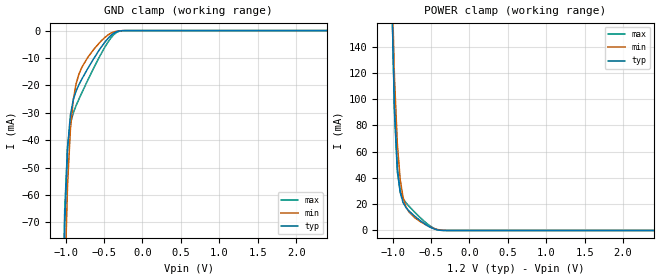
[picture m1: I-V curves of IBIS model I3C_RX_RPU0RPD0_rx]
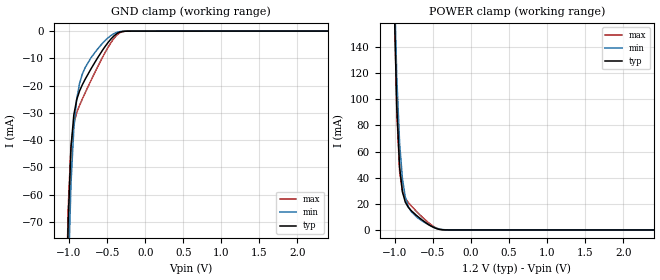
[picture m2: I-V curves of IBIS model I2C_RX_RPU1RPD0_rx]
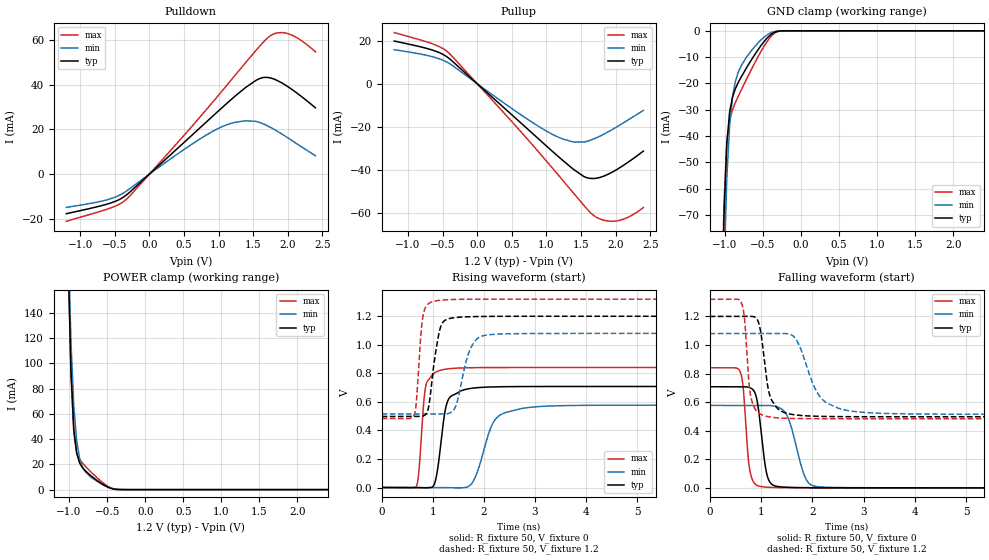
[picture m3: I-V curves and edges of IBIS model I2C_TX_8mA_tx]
[IBIS Ver]   4.2
[File name]   a11486_ibis-00001760_20260211_1855.ibs
[File rev]   1.0
[Date]   Tue Feb 26 19:11:02 2026
[Source]   From post silicon level SPICE at MediaTek Inc.
[Notes]   Engineering
[Disclaimer] This software contains information confidential and proprietary
                to MediaTek.  It shall not be reproduced in whole or in part, or
                transferred to other documents, or disclosed to third parties,
                or used for any purpose other than that for which it was obtained,
                without the prior license permission of MediaTek. The entire notice
                above must be reproduced on all authorized copies.
[Copyright]   Copyright (C) 2026 MediaTek Incorportion. All right reserved.
[Component]   A11486_IBIS-00001760
[Manufacturer]  Media Tek Inc.
[Package]
| variable   typ   min   max
R_pkg   0   0   0
L_pkg   0   0   0
C_pkg   0   0   0
[Pin]   signal_name   model_name   R_pin   L_pin   C_pin
IO   IO   A11486_IBIS-00001760
IO2   IO2   A11486_IBIS-00001760
[Model Selector]   A11486_IBIS-00001760
I3C_RX_RPU0RPD0_rx   I3C_RX_RPU0RPD0_rx
I2C_RX_RPU1RPD0_rx   I2C_RX_RPU1RPD0_rx
I2C_TX_8mA_tx   I2C_TX_8mA_tx
I3C_TX_0p125mA_tx   I3C_TX_0p125mA_tx
| Models and submodels in the file (4): I3C_RX_RPU0RPD0_rx (Input), I2C_RX_RPU1RPD0_rx (Input), I2C_TX_8mA_tx (I/O), I3C_TX_0p125mA_tx (I/O)
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[Model]   I3C_RX_RPU0RPD0_rx
Model_type Input
Enable   Active-High
Vinl  =  0.15
Vinh  =  0.6
| Capacitance   typ   min   max
C_comp   2.38054388888889e-12   2.297637654320988e-12   2.448353535353536e-12
| Variables   typ   min   max
[GND Clamp Reference]   0   0   0
[POWER Clamp Reference]   1.2   1.08   1.32
[Pulldown Reference]   0   0   0
[Pullup Reference]   1.2   1.08   1.32
[Temperature Range]   25   125   -40
[Voltage Range]   1.2   1.08   1.32
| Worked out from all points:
|   GND clamp passes 1 mA (typ) near -0.38 V on its own axis
|   POWER clamp passes 1 mA (typ) near -0.45 V on its own axis
[GND Clamp]
| Voltage   I(typ)   I(min)   I(max)
-1.2V     -742.2mA   -525.9mA   -647.8mA
-1.05V    -131.2mA   -159.5mA   -123.1mA
-1.012V   -71.24mA   -93.57mA   -65.79mA
-975mV    -42.9mA    -56.15mA   -42.35mA
-937.5mV  -30.79mA   -35.83mA   -33.91mA
-900mV    -25.2mA    -25.12mA   -30mA
-862.5mV  -22mA      -19.26mA   -27.29mA
-787.5mV  -17.62mA   -13.33mA   -22.61mA
-712.5mV  -13.88mA   -9.827mA   -18.14mA
-450mV    -2.896mA   -1.626mA   -4.255mA
-262.5mV  -36.84uA   -32.89uA   -53.29uA
2.4V      0A         0A         0A
[POWER Clamp]
| Voltage   I(typ)   I(min)   I(max)
-1.2V     1.134A     914.5mA    1.147A
-1.012V   184.7mA    200.6mA    187.8mA
-975mV    94.28mA    117.1mA    90.89mA
-937.5mV  47.98mA    66.09mA    44.9mA
-900mV    28.94mA    38.72mA    29.55mA
-862.5mV  21.24mA    25.05mA    24.12mA
-825mV    17.44mA    18.13mA    21.07mA
-787.5mV  14.92mA    14.25mA    18.58mA
-712.5mV  10.93mA    9.809mA    13.96mA
-525mV    2.977mA    3.033mA    4.016mA
-375mV    136.8uA    333.6uA    154.3uA
2.4V      0A         0A         0A
[Model]   I2C_RX_RPU1RPD0_rx
Model_type Input
Enable   Active-High
Vinl  =  0.15
Vinh  =  0.6
| Capacitance   typ   min   max
C_comp   2.38054388888889e-12   2.297637654320988e-12   2.448353535353536e-12
| Variables   typ   min   max
[GND Clamp Reference]   0   0   0
[POWER Clamp Reference]   1.2   1.08   1.32
[Pulldown Reference]   0   0   0
[Pullup Reference]   1.2   1.08   1.32
[Temperature Range]   25   125   -40
[Voltage Range]   1.2   1.08   1.32
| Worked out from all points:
|   GND clamp passes 1 mA (typ) near -0.38 V on its own axis
|   POWER clamp passes 1 mA (typ) near -0.45 V on its own axis
[GND Clamp]
| Voltage   I(typ)   I(min)   I(max)
-1.2V     -742.2mA   -525.9mA   -647.8mA
-1.05V    -131.2mA   -159.5mA   -123.1mA
-1.012V   -71.26mA   -93.57mA   -65.79mA
-975mV    -42.91mA   -56.15mA   -42.35mA
-937.5mV  -30.81mA   -35.83mA   -33.91mA
-900mV    -25.22mA   -25.12mA   -30mA
-862.5mV  -22.01mA   -19.26mA   -27.29mA
-787.5mV  -17.64mA   -13.33mA   -22.61mA
-712.5mV  -13.9mA    -9.827mA   -18.14mA
-450mV    -2.915mA   -1.626mA   -4.255mA
-262.5mV  -55.97uA   -32.89uA   -53.29uA
2.4V      0A         0A         0A
[POWER Clamp]
| Voltage   I(typ)   I(min)   I(max)
-1.2V     1.134A     914.5mA    1.147A
-1.012V   184.7mA    200.6mA    187.8mA
-975mV    94.3mA     117.1mA    90.89mA
-937.5mV  47.99mA    66.09mA    44.9mA
-900mV    28.95mA    38.72mA    29.55mA
-862.5mV  21.25mA    25.05mA    24.12mA
-825mV    17.45mA    18.13mA    21.07mA
-787.5mV  14.93mA    14.25mA    18.58mA
-712.5mV  10.95mA    9.809mA    13.96mA
-525mV    2.986mA    3.033mA    4.016mA
-375mV    143.5uA    333.6uA    154.3uA
2.4V      0A         0A         0A
[Model]   I2C_TX_8mA_tx
Model_type I/O
Enable   Active-High
Vinl  =  0.15
Vinh  =  0.6
| Capacitance   typ   min   max
C_comp   2.38054388888889e-12   2.297637654320988e-12   2.448353535353536e-12
[Model Spec]
| Subparameter   typ   min   max
Vinl   0   0   0
Vinh   0   0   0
Vmeas   0.6   0.54   0.66
| Variables   typ   min   max
[GND Clamp Reference]   0   0   0
[POWER Clamp Reference]   1.2   1.08   1.32
[Pulldown Reference]   0   0   0
[Pullup Reference]   1.2   1.08   1.32
[Temperature Range]   25   125   -40
[Voltage Range]   1.2   1.08   1.32
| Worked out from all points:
|   slope of the pulldown table from 0 to 0.18 V, typ, clamps not added: 35.4 ohm
|   slope of the pullup table from 0 to 0.18 V, typ, clamps not added: 34.7 ohm
|   GND clamp passes 1 mA (typ) near -0.38 V on its own axis
|   POWER clamp passes 1 mA (typ) near -0.45 V on its own axis
|   rising waveform, R_fixture 50, V_fixture 0: 20-80 % time 158ps typ, 316ps min, 104ps max; typ from 0 V to 0.708 V
|   rising waveform, R_fixture 50, V_fixture 1.2: 20-80 % time 160ps typ, 232ps min, 99.3ps max; typ from 0.498 V to 1.2 V
|   falling waveform, R_fixture 50, V_fixture 0: 20-80 % time 144ps typ, 259ps min, 103ps max; typ from 0.708 V to 0 V
|   falling waveform, R_fixture 50, V_fixture 1.2: 20-80 % time 171ps typ, 392ps min, 108ps max; typ from 1.2 V to 0.498 V
[GND Clamp]
| Voltage   I(typ)   I(min)   I(max)
-1.2V     -742.2mA   -525.9mA   -647.8mA
-1.05V    -131.2mA   -159.5mA   -123.1mA
-1.012V   -71.24mA   -93.57mA   -65.79mA
-975mV    -42.9mA    -56.15mA   -42.35mA
-937.5mV  -30.79mA   -35.83mA   -33.91mA
-900mV    -25.2mA    -25.12mA   -30mA
-862.5mV  -22mA      -19.26mA   -27.29mA
-787.5mV  -17.62mA   -13.33mA   -22.61mA
-712.5mV  -13.88mA   -9.827mA   -18.14mA
-450mV    -2.896mA   -1.626mA   -4.255mA
-262.5mV  -36.84uA   -32.89uA   -53.29uA
2.4V      0A         0A         0A
[POWER Clamp]
| Voltage   I(typ)   I(min)   I(max)
-1.2V     1.134A     914.5mA    1.147A
-1.012V   184.7mA    200.6mA    187.8mA
-975mV    94.28mA    117.1mA    90.89mA
-937.5mV  47.98mA    66.09mA    44.9mA
-900mV    28.94mA    38.72mA    29.55mA
-862.5mV  21.24mA    25.05mA    24.12mA
-825mV    17.44mA    18.13mA    21.07mA
-787.5mV  14.92mA    14.25mA    18.58mA
-712.5mV  10.93mA    9.809mA    13.96mA
-525mV    2.977mA    3.033mA    4.016mA
-375mV    136.8uA    333.6uA    154.3uA
2.4V      0A         0A         0A
[Pullup]
| Voltage   I(typ)   I(min)   I(max)
-1.2V     19.84mA    15.81mA    23.75mA
-637.5mV  15.53mA    12.48mA    18.43mA
-412.5mV  11.9mA     9.585mA    14.36mA
487.5mV   -14.03mA   -11.2mA    -17.11mA
975mV     -28.13mA   -21.45mA   -34.9mA
1.238V    -35.58mA   -25.61mA   -44.83mA
1.387V    -39.58mA   -27mA      -50.57mA
1.538V    -42.94mA   -27.02mA   -56.26mA
1.725V    -43.75mA   -24.98mA   -61.93mA
1.913V    -41.6mA    -21.89mA   -63.71mA
2.138V    -37.26mA   -17.59mA   -62.46mA
2.4V      -31.19mA   -12.35mA   -57.38mA
[Pulldown]
| Voltage   I(typ)   I(min)   I(max)
-1.2V     -17.66mA   -14.83mA   -21.05mA
-637.5mV  -13.62mA   -11.66mA   -15.92mA
-337.5mV  -9.459mA   -7.673mA   -11.39mA
487.5mV   13.76mA    10.72mA    16.85mA
975mV     27.56mA    20.08mA    34.34mA
1.238V    34.8mA     23.12mA    44.07mA
1.387V    38.61mA    23.82mA    49.66mA
1.575V    42.41mA    23.25mA    56.46mA
1.762V    42.84mA    20.68mA    62.06mA
1.913V    40.76mA    17.96mA    63.2mA
2.138V    36.08mA    13.41mA    60.8mA
2.4V      29.59mA    8.194mA    54.6mA
[Ramp]
dV/dt_r   0.424777/0.158147n  0.34634/0.315868n  0.504487/0.104039n
dV/dt_f   0.421428/0.170641n  0.33903/0.392229n  0.501685/0.108471n
R_load = 50
[Rising Waveform]
R_fixture = 50
V_fixture = 0
V_fixture_min = 0
V_fixture_max = 0
| Time   V(typ)   V(min)   V(max)
0s        51.77nV    509.8nV    85.8nV
681.5ps   60.25uV    165.7nV    10.64mV
848.2ps   -2.258mV   -2.034uV   683.7mV
1.003ns   7.57mV     -560.5nV   794.7mV
1.274ns   588.1mV    -988.9uV   830.4mV
1.576ns   680.7mV    -1.984mV   838.1mV
1.811ns   697.4mV    57.49mV    839.8mV
2.271ns   705.8mV    496.1mV    840.7mV
3.501ns   707.9mV    573.4mV    840.8mV
75ns      708mV      577.2mV    840.8mV
[Rising Waveform]
R_fixture = 50
V_fixture = 1.2
V_fixture_min = 1.08
V_fixture_max = 1.32
| Time   V(typ)   V(min)   V(max)
0s        497.6mV    515mV      483.9mV
637.4ps   497.6mV    514.9mV    510.2mV
678.7ps   497.6mV    514.9mV    604.5mV
784.7ps   498.7mV    514.9mV    1.143V
870.2ps   517mV      515mV      1.271V
1.143ns   1.115V     514.9mV    1.312V
1.395ns   1.189V     538.3mV    1.318V
1.816ns   1.198V     1.022V     1.32V
2.508ns   1.2V       1.077V     1.32V
75ns      1.2V       1.08V      1.32V
[Falling Waveform]
R_fixture = 50
V_fixture = 0
V_fixture_min = 0
V_fixture_max = 0
| Time   V(typ)   V(min)   V(max)
0s        708mV      577.2mV    840.8mV
598.9ps   708mV      577.2mV    809.3mV
763.9ps   703.3mV    577.2mV    167.3mV
864ps     677.8mV    577.2mV    35.34mV
1.104ns   112.7mV    577.5mV    5.095mV
1.242ns   18.03mV    573.7mV    2.762mV
1.523ns   3.721mV    494.5mV    980.3uV
1.905ns   1.179mV    44.16mV    286.2uV
2.381ns   372.6uV    3.01mV     78.96uV
75ns      2.981uV    5.065uV    1.856uV
[Falling Waveform]
R_fixture = 50
V_fixture = 1.2
V_fixture_min = 1.08
V_fixture_max = 1.32
| Time   V(typ)   V(min)   V(max)
0s        1.2V       1.08V      1.32V
618.9ps   1.2V       1.08V      1.293V
682.3ps   1.201V     1.08V      1.17V
783.3ps   1.201V     1.08V      676.8mV
912.3ps   1.186V     1.08V      538.6mV
1.173ns   644.3mV    1.08V      496mV
1.505ns   521.8mV    1.08V      486.7mV
2.253ns   499.7mV    601.5mV    484.1mV
3.613ns   497.7mV    519.2mV    483.9mV
75ns      497.6mV    515mV      483.9mV
